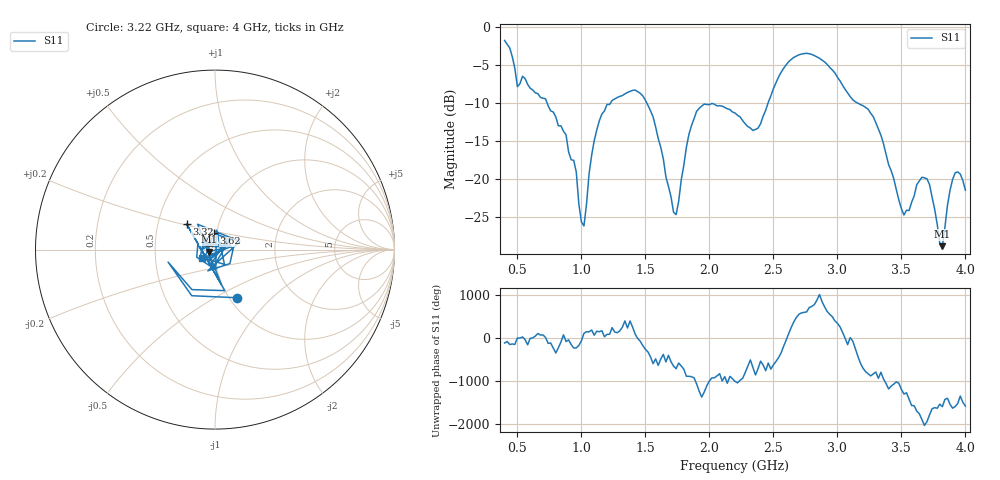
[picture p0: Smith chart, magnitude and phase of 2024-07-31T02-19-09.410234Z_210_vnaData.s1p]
!Created with skrf (http://scikit-rf.org).
# Hz S RI R 50.0
!freq ReS11 ImS11
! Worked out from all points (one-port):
!   181 points, 400 MHz to 4 GHz, reference 50 ohm
!   lowest |S11| = -28.8 dB at 3.82 GHz (marker M1), VSWR 1.08, Z = 46.6 - j1.07 ohm
!   |S11| at or under -10 dB: 732 MHz to 1.228 GHz (495.6 MHz wide, 50.6 % of centre); 1.511 GHz to 2.458 GHz (947.7 MHz wide, 47.8 % of centre); 3.157 GHz to end of sweep
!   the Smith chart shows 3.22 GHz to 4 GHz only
!   S11 on the Smith chart (normalised r, x): 3.22 GHz: 1.09, -0.64; 3.32 GHz: 0.70, +0.21; 3.62 GHz: 0.97, +0.18; 4 GHz: 0.86, -0.08
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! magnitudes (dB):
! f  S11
! 400 MHz  -1.8
! 500 MHz  -7.9
! 560 MHz  -6.8
! 860 MHz  -13.7
! 960 MHz  -19.0
! 1.02 GHz  -26.1
! 1.12 GHz  -13.5
! 1.3 GHz  -9.1
! 1.5 GHz  -9.6
! 1.62 GHz  -15.8
! 1.72 GHz  -24.3
! 1.76 GHz  -22.9
! 1.84 GHz  -14.1
! 1.9 GHz  -11.1
! 2.2 GHz  -11.3
! 2.38 GHz  -13.3
! 2.66 GHz  -4.0
! 2.86 GHz  -4.2
! 3.1 GHz  -9.2
! 3.22 GHz  -10.6
! 3.32 GHz  -13.4
! 3.5 GHz  -23.8
! 3.56 GHz  -24.1
! 3.62 GHz  -20.7
! 3.72 GHz  -20.7
! 3.82 GHz  -28.8
! 3.92 GHz  -19.2
! 4 GHz  -21.4
